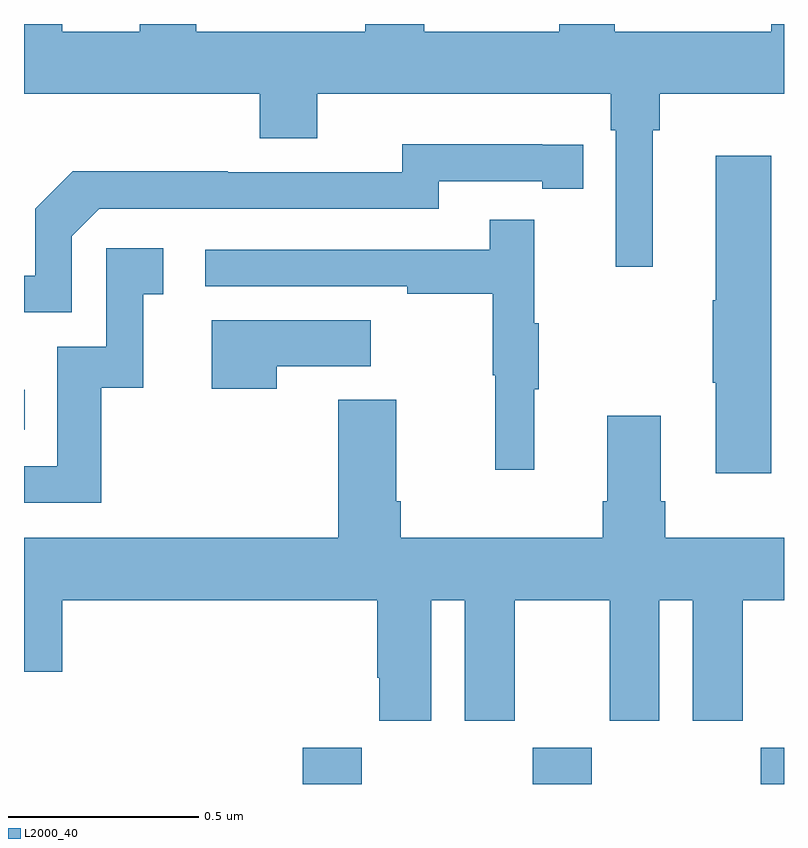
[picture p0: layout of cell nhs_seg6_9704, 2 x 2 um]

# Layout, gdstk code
import gdstk
lib = gdstk.Library(unit=1e-6, precision=1e-09)
def R(c, l, rs):  # rectangles x0, y0, x1, y1
    for r in rs: c.add(gdstk.rectangle(r[:2], r[2:], *l))
def P(c, l, *ps):  # polygons
    for p in ps: c.add(gdstk.Polygon(p, *l))
L2000_40 = (2000, 40)

nhs_seg6_9704 = lib.new_cell('nhs_seg6_9704')
R(nhs_seg6_9704, L2000_40, [(237.734,965.5,237.889,965.596), (238.339,965.5,238.494,965.596), (238.939,965.5,239,965.596), (237,966.432,237.002,966.537)])
P(nhs_seg6_9704, L2000_40, [(237.62,967.199),(237.772,967.199),(237.772,967.316),(238.544,967.316),(238.544,967.22),(238.557,967.22),(238.557,966.861),(238.654,966.861),(238.654,967.22),(238.673,967.22),(238.673,967.316),(239,967.316),(239,967.5),(238.967,967.5),(238.967,967.48),(238.555,967.48),(238.555,967.5),(238.408,967.5),(238.408,967.48),(238.053,967.48),(238.053,967.5),(237.898,967.5),(237.898,967.48),(237.453,967.48),(237.453,967.5),(237.305,967.5),(237.305,967.48),(237.1,967.48),(237.1,967.5),(237,967.5),(237,967.316),(237.62,967.316)],
  [(237.126,966.942),(237.198,967.014),(238.092,967.014),(238.092,967.086),(238.364,967.086),(238.364,967.066),(238.472,967.066),(238.472,967.182),(238.364,967.182),(238.364,967.183),(237.996,967.183),(237.996,967.11),(237.536,967.11),(237.536,967.112),(237.128,967.112),(237.03,967.014),(237.03,966.837),(237,966.837),(237,966.741),(237.126,966.741)],
  [(238.966,967.153),(238.82,967.153),(238.82,966.773),(238.813,966.773),(238.813,966.556),(238.82,966.556),(238.82,966.318),(238.966,966.318)],
  [(238.343,966.539),(238.354,966.539),(238.354,966.713),(238.343,966.713),(238.343,966.985),(238.225,966.985),(238.225,966.906),(237.477,966.906),(237.477,966.81),(238.009,966.81),(238.009,966.79),(238.233,966.79),(238.233,966.576),(238.24,966.576),(238.24,966.327),(238.343,966.327)],
  [(237.203,966.543),(237.314,966.543),(237.314,966.789),(237.367,966.789),(237.367,966.91),(237.216,966.91),(237.216,966.651),(237.087,966.651),(237.087,966.336),(237,966.336),(237,966.24),(237.203,966.24)],
  [(237.665,966.599),(237.913,966.599),(237.913,966.721),(237.494,966.721),(237.494,966.54),(237.665,966.54)],
  [(238.072,965.984),(238.16,965.984),(238.16,965.667),(238.291,965.667),(238.291,965.984),(238.541,965.984),(238.541,965.667),(238.672,965.667),(238.672,965.984),(238.76,965.984),(238.76,965.667),(238.891,965.667),(238.891,965.984),(239,965.984),(239,966.148),(238.688,966.148),(238.688,966.244),(238.675,966.244),(238.675,966.469),(238.535,966.469),(238.535,966.244),(238.523,966.244),(238.523,966.148),(237.992,966.148),(237.992,966.244),(237.979,966.244),(237.979,966.511),(237.827,966.511),(237.827,966.148),(237,966.148),(237,965.796),(237.1,965.796),(237.1,965.984),(237.929,965.984),(237.929,965.779),(237.935,965.779),(237.935,965.667),(238.072,965.667)])

lib.write_gds('nhs_seg6_9704.gds')
